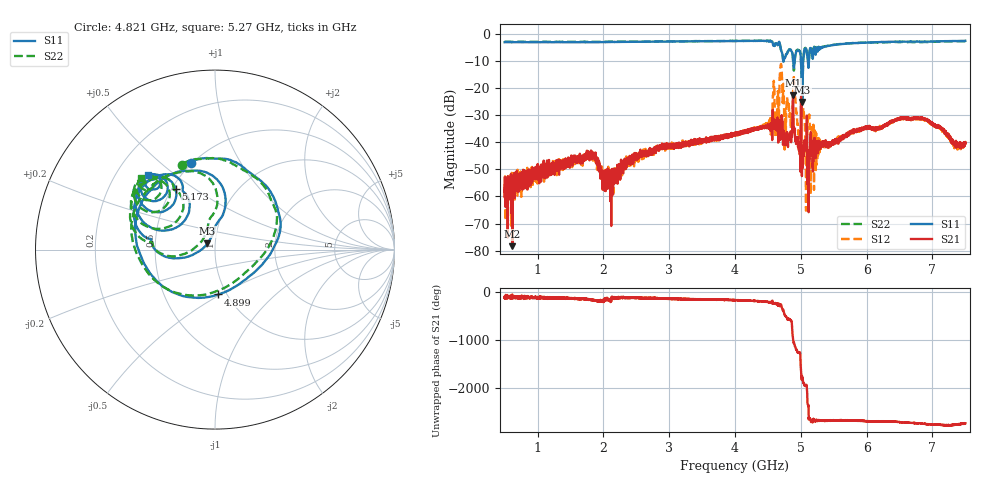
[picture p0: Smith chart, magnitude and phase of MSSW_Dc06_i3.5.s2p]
!Keysight Technologies,M9374A,MY55442783,A.12.55.05
!Date: Thursday, May 20, 2021 13:18:51
!Correction: S11(Full 2 Port(1,2))
!S21(Full 2 Port(1,2))
!S12(Full 2 Port(1,2))
!S22(Full 2 Port(1,2))
!S2P File: Measurements: S11, S21, S12, S22:
# Hz S  RI  R 50
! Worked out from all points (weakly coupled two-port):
!   7001 points, 500 MHz to 7.5 GHz, reference 50 ohm
!   highest |S21| = -22.75 dB at 4.88 GHz (marker M1); lowest = -78.3 dB at 617 MHz (marker M2)
!   lowest |S11| = -25.2 dB at 5.022 GHz (marker M3), VSWR 1.12, Z = 45.8 + j3.18 ohm
!   |S11| at or under -10 dB: 4.883411 GHz to 4.906052 GHz (22.64 MHz wide, 0.463 % of centre); 5.002 GHz to 5.035 GHz (32.42 MHz wide, 0.646 % of centre); 5.10613 GHz to 5.12315 GHz (17.02 MHz wide, 0.333 % of centre) (the widest 3 of 4)
!   |S22| runs from -21.2 to -2.5 dB; largest |S21 - S12| = 0.26
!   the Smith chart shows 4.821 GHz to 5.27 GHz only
!   S11 on the Smith chart (normalised r, x): 4.821 GHz: 0.49, +0.64; 4.899 GHz: 0.91, -0.49; 5.173 GHz: 0.52, +0.42; 5.27 GHz: 0.33, +0.41
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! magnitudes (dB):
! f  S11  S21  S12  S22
! 500 MHz  -3.2  -53.1  -57.6  -3.0
! 617 MHz  -3.2  -78.3  -54.4  -3.0
! 1.667 GHz  -3.2  -47.0  -45.9  -3.0
! 2.118 GHz  -3.1  -53.0  -55.4  -3.0
! 2.834 GHz  -3.0  -41.7  -42.0  -2.9
! 4 GHz  -2.7  -37.1  -37.2  -2.7
! 4.532 GHz  -2.6  -34.5  -32.6  -2.6
! 4.639 GHz  -4.0  -32.4  -27.7  -3.9
! 4.707 GHz  -6.6  -30.3  -12.4  -6.6
! 4.75 GHz  -9.1  -37.8  -35.1  -8.8
! 4.821 GHz  -6.0  -38.1  -28.3  -5.9
! 4.88 GHz  -8.9  -22.7  -21.9  -9.0
! 4.899 GHz  -12.0  -35.2  -17.2  -13.0
! 4.971 GHz  -6.3  -43.1  -36.5  -6.1
! 5.022 GHz  -25.2  -49.5  -23.6  -20.7
! 5.072 GHz  -5.5  -40.6  -41.2  -5.3
! 5.167 GHz  -6.6  -40.3  -34.5  -6.1
! 5.173 GHz  -7.9  -41.6  -34.9  -7.1
! 5.27 GHz  -5.0  -40.0  -38.9  -4.8
! 6.334 GHz  -3.0  -33.0  -33.3  -3.2
! 6.875 GHz  -2.9  -31.5  -31.8  -3.1
! 7.5 GHz  -2.7  -40.5  -40.2  -2.8
